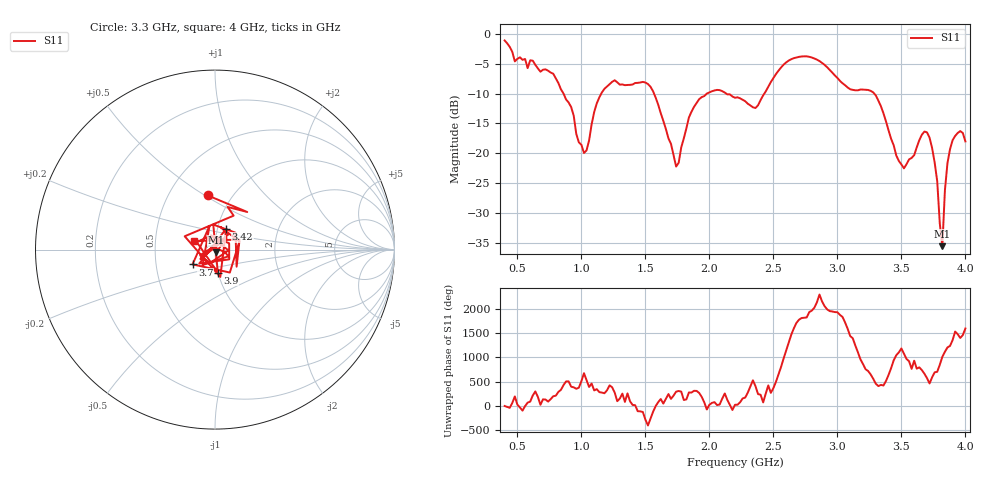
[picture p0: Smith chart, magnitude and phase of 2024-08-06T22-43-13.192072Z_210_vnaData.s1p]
!Created with skrf (http://scikit-rf.org).
# Hz S RI R 50.0
!freq ReS11 ImS11
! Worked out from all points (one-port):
!   181 points, 400 MHz to 4 GHz, reference 50 ohm
!   lowest |S11| = -35.5 dB at 3.82 GHz (marker M1), VSWR 1.03, Z = 50.6 - j1.56 ohm
!   |S11| at or under -10 dB: 1.567 GHz to 1.98 GHz (413 MHz wide, 23.3 % of centre); 2.131 GHz to 2.429 GHz (298.1 MHz wide, 13.1 % of centre); 3.288 GHz to end of sweep (the widest 3 of 4)
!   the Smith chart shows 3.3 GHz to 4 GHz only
!   S11 on the Smith chart (normalised r, x): 3.3 GHz: 0.77, +0.51; 3.42 GHz: 1.10, +0.26; 3.7 GHz: 0.77, -0.13; 3.9 GHz: 1.00, -0.26; 4 GHz: 0.79, +0.08
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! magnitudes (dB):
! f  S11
! 400 MHz  -1.1
! 480 MHz  -4.6
! 780 MHz  -6.7
! 860 MHz  -10.0
! 1.02 GHz  -19.9
! 1.16 GHz  -9.8
! 1.3 GHz  -8.5
! 1.54 GHz  -8.9
! 1.74 GHz  -22.2
! 1.76 GHz  -21.6
! 1.84 GHz  -14.0
! 1.92 GHz  -10.9
! 2.2 GHz  -10.7
! 2.36 GHz  -12.4
! 2.66 GHz  -4.1
! 2.84 GHz  -4.3
! 3.1 GHz  -9.3
! 3.3 GHz  -10.3
! 3.42 GHz  -17.6
! 3.52 GHz  -22.5
! 3.56 GHz  -21.0
! 3.7 GHz  -16.5
! 3.78 GHz  -24.7
! 3.82 GHz  -35.5
! 3.84 GHz  -26.2
! 3.86 GHz  -21.6
! 3.9 GHz  -17.8
! 4 GHz  -18.0
